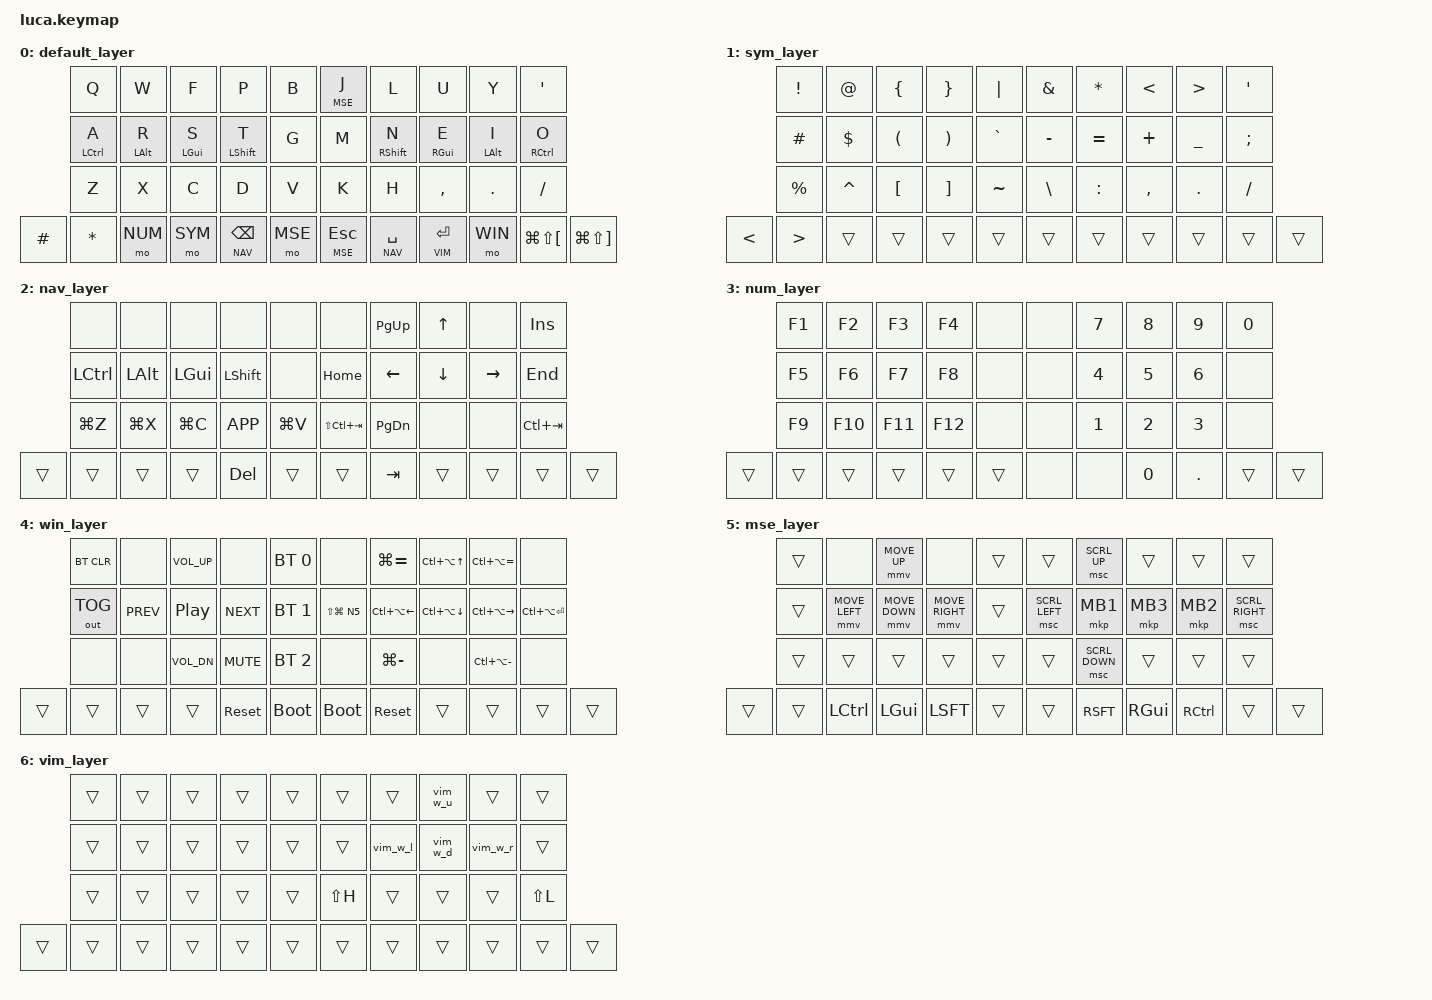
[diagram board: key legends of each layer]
#include <behaviors.dtsi>
#include <dt-bindings/zmk/keys.h>
#include <dt-bindings/zmk/bt.h>
#include <dt-bindings/zmk/mouse.h>
#include <dt-bindings/zmk/outputs.h>

#define DEFAULT 0
#define SYM     1
#define NAV     2
#define NUM     3
#define WIN     4
#define MSE     5
#define VIM     6

&lt {
  quick_tap_ms = <200>;
};

/ {

    behaviors {

        hml: hml {
            compatible = "zmk,behavior-hold-tap";
            label = "HOME_ROW_LEFT";
            bindings = <&kp>, <&kp>;

            #binding-cells = <2>;
            hold-trigger-key-positions = <6 7 8 9 10 11 18 19 20 21 22 23 30 31 32 33 34 35 42 43 44 45 46 47>;
            tapping-term-ms = <150>;
            quick-tap-ms = <175>;
            require-prior-idle-ms = <120>;
            flavor = "balanced";
            hold-trigger-on-release;
        };

        hmr: hmr {
            compatible = "zmk,behavior-hold-tap";
            label = "HOME_ROW_RIGHT";
            bindings = <&kp>, <&kp>;

            #binding-cells = <2>;
            tapping-term-ms = <150>;
            quick-tap-ms = <175>;
            require-prior-idle-ms = <120>;
            flavor = "balanced";
            hold-trigger-key-positions = <0 1 2 3 4 5 12 13 14 15 16 17 24 25 26 27 28 29 36 37 38 39 40 41>;
            hold-trigger-on-release;
        };
    };

    macros {
        vim_w_l: vim_w_l {
            compatible = "zmk,behavior-macro";
            #binding-cells = <0>;
            bindings
                = <&macro_press &kp LCTRL>
                , <&macro_tap &kp W>
                , <&macro_release &kp LCTRL>
                , <&macro_tap &kp H>
                ;
        };
        vim_w_d: vim_w_d {
            compatible = "zmk,behavior-macro";
            #binding-cells = <0>;
            bindings
                = <&macro_press &kp LCTRL>
                , <&macro_tap &kp W>
                , <&macro_release &kp LCTRL>
                , <&macro_tap &kp J>
                ;
        };
        vim_w_u: vim_w_u {
            compatible = "zmk,behavior-macro";
            #binding-cells = <0>;
            bindings
                = <&macro_press &kp LCTRL>
                , <&macro_tap &kp W>
                , <&macro_release &kp LCTRL>
                , <&macro_tap &kp K>
                ;
        };
        vim_w_r: vim_w_r {
            compatible = "zmk,behavior-macro";
            #binding-cells = <0>;
            bindings
                = <&macro_press &kp LCTRL>
                , <&macro_tap &kp W>
                , <&macro_release &kp LCTRL>
                , <&macro_tap &kp L>
                ;
        };
        vim_w_t: vim_w_t {
            compatible = "zmk,behavior-macro";
            #binding-cells = <0>;
            bindings
                = <&macro_press &kp LCTRL>
                , <&macro_tap &kp W>
                , <&macro_release &kp LCTRL>
                , <&macro_tap &kp T>
                ;
        };
    };

    combos {
        compatible = "zmk,combos";

        combo_capsword {
              timeout-ms = <50>;
              key-positions = <13 16>;
              bindings = <&caps_word>;
        };
    };

    keymap {
        compatible = "zmk,keymap";

        default_layer {
/* COLEMAK DH
 *                                     --==  Luca  ==--
 * ,----------------------------------.                ,----------------------------------.
 * |   Q  |   W  |   F  |   P  |   B  |                |   J  |   L  |   U  |   Y  |   '  |
 * |------+------+------+------+------|                |------+------+------+------+------|
 * |   A  |   R  |   S  |   T  |   G  |                |   M  |   N  |   E  |   I  |   O  |
 * |------+------+------+------+------|                |------+------+------+------+------|
 * |   Z  |   X  |   C  |   D  |   V  |                |   K  |   H  |   ,  |   .  |   /  |
 * `----------------------------------'                `----------------------------------'
   ,-----------------------------------------.  ,-----------------------------------------.
 * |   ↑  |   ↓  |  NUM | SYM |  NAV |  MSE  |  |  ESC | NAV  | VIM  | WIN  |   ←  |  →   |
 * `-----------------------------------------'  `-----------------------------------------'
 */

            bindings = <
           &kp Q       &kp W       &kp F       &kp P       &kp B           &lt MSE J &kp L     &kp U       &kp Y       &kp SQT
           &hml LCTRL A &hml LALT R  &hml LGUI S  &hml LSHFT T &kp G       &kp M   &hmr RSHFT N &hmr RGUI E  &hmr LALT I  &hmr RCTRL O
           &kp Z       &kp X       &kp C       &kp D       &kp V           &kp K   &kp H       &kp COMMA   &kp DOT     &kp FSLH
    &kp HASH &kp ASTRK &mo NUM  &mo SYM  &lt NAV BSPC &mo MSE   &lt MSE ESC &lt NAV SPACE &lt VIM ENTER &mo WIN &kp LG(LS(LBKT)) &kp LG(LS(RBKT))
            >;
        };

        sym_layer {
            bindings = <
            &kp EXCL    &kp AT    &kp LBRC &kp RBRC &kp PIPE        &kp AMPS  &kp ASTRK &kp LT    &kp GT    &kp SQT
            &kp HASH    &kp DLLR  &kp LPAR &kp RPAR &kp GRAVE       &kp MINUS &kp EQUAL &kp PLUS  &kp UNDER &kp SEMI
            &kp PRCNT   &kp CARET &kp LBKT &kp RBKT &kp TILDE       &kp BSLH  &kp COLON &kp COMMA &kp DOT   &kp FSLH
   &kp LT   &kp GT      &trans    &trans   &trans   &trans          &trans    &trans    &trans    &trans    &trans    &trans
          >;
      };

        nav_layer {
            bindings = <
            &none     &none     &none     &none     &none         &none           &kp PG_UP &kp UP   &none     &kp INS
            &kp LCTRL &kp LALT  &kp LGUI  &kp LSHFT &none         &kp HOME        &kp LEFT  &kp DOWN &kp RIGHT &kp END
            &kp LG(Z) &kp LG(X) &kp LG(C) &kp K_APP &kp LG(V)     &kp LS(LC(TAB)) &kp PG_DN &none    &none     &kp LC(TAB)
   &trans   &trans    &trans    &trans    &kp DEL    &trans       &trans        &kp TAB   &trans   &trans    &trans     &trans
            >;
      };

        num_layer {
            bindings = <
            &kp F1    &kp F2    &kp F3    &kp F4    &none         &none     &kp N7    &kp N8    &kp N9    &kp N0
            &kp F5    &kp F6    &kp F7    &kp F8    &none         &none     &kp N4    &kp N5    &kp N6    &none
            &kp F9    &kp F10   &kp F11   &kp F12   &none         &none     &kp N1    &kp N2    &kp N3    &none
   &trans   &trans    &trans    &trans    &trans    &trans        &none     &none     &kp N0    &kp DOT   &trans   &trans
           >;
      };
        win_layer {
            bindings = <
            &bt BT_CLR &none &kp C_VOL_UP &none &bt BT_SEL 0              &none  &kp LG(EQUAL) &kp LC(LA(UP)) &kp LC(LA(EQUAL)) &none
            &out OUT_TOG  &kp C_PREV &kp C_PP &kp C_NEXT &bt BT_SEL 1     &kp LS(LG( N5)) &kp LC(LA(LEFT)) &kp LC(LA(DOWN)) &kp LC(LA(RIGHT)) &kp LC(LA(RET))
            &none  &none  &kp C_VOL_DN &kp C_MUTE &bt BT_SEL 2            &none &kp LG(MINUS) &none &kp LC(LA(MINUS)) &none
   &trans   &trans &trans &trans &sys_reset &bootloader                   &bootloader &sys_reset &trans &trans &trans &trans
           >;
      };

        mse_layer {
            bindings = <
          &trans  &none          &mmv MOVE_UP   &none           &trans       &trans          &msc SCRL_UP    &trans    &trans   &trans
          &trans  &mmv MOVE_LEFT &mmv MOVE_DOWN &mmv MOVE_RIGHT &trans       &msc SCRL_LEFT  &mkp MB1        &mkp MB3  &mkp MB2 &msc SCRL_RIGHT
          &trans  &trans         &trans         &trans          &trans       &trans          &msc SCRL_DOWN  &trans    &trans   &trans
   &trans &trans  &kp LCTRL      &kp LGUI       &kp LSFT        &trans       &trans          &kp RSFT        &kp RGUI  &kp RCTRL &trans  &trans
            >;
      };
        vim_layer {
            bindings = <
            &trans  &trans         &trans         &trans          &trans       &trans          &trans        &vim_w_u  &trans     &trans
            &trans  &trans         &trans         &trans          &trans       &trans          &vim_w_l      &vim_w_d  &vim_w_r   &trans
            &trans  &trans         &trans         &trans          &trans       &kp LS(H)       &trans        &trans    &trans     &kp LS(L)
   &trans   &trans  &trans         &trans         &trans          &trans       &trans          &trans        &trans    &trans     &trans     &trans
            >;
      };
    };
};
